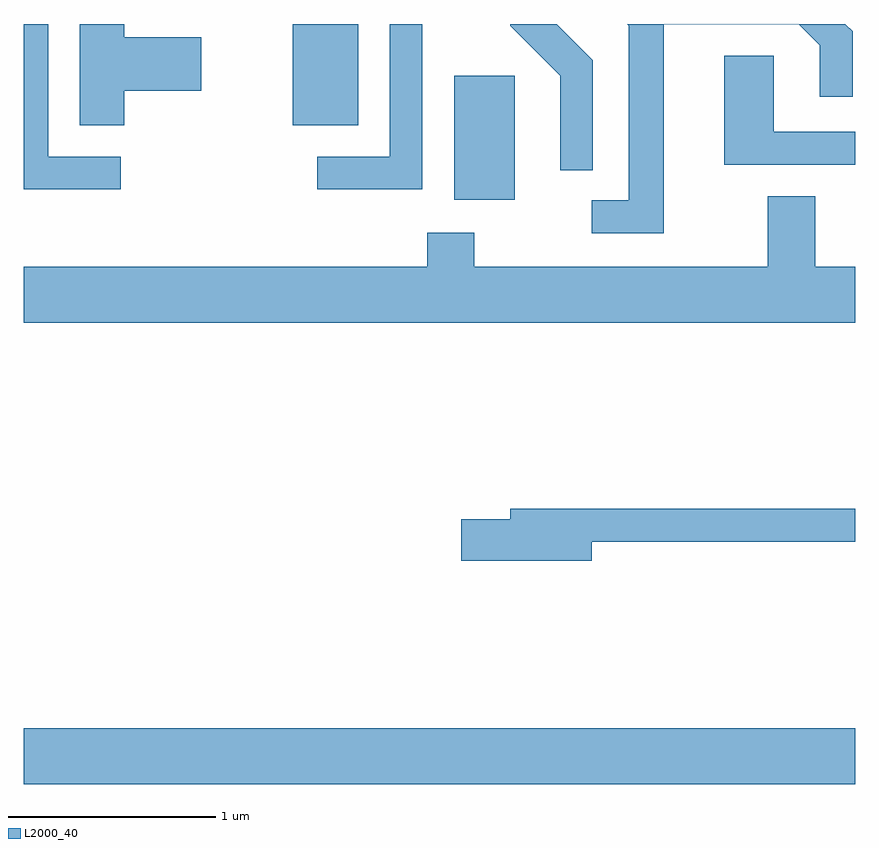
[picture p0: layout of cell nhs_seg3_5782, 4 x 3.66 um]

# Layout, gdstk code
import gdstk
lib = gdstk.Library(unit=1e-6, precision=1e-09)
def R(c, l, rs):  # rectangles x0, y0, x1, y1
    for r in rs: c.add(gdstk.rectangle(r[:2], r[2:], *l))
def P(c, l, *ps):  # polygons
    for p in ps: c.add(gdstk.Polygon(p, *l))
L2000_40 = (2000, 40)

nhs_seg3_5782 = lib.new_cell('nhs_seg3_5782')
R(nhs_seg3_5782, L2000_40, [(355.611,1128.236,359.611,1128.504), (357.681,1131.046,357.974,1131.644), (356.906,1131.406,357.219,1131.892)])
P(nhs_seg3_5782, L2000_40, [(358.689,1131.891),(359.339,1131.891),(359.441,1131.789),(359.441,1131.543),(359.599,1131.543),(359.599,1131.857),(359.564,1131.892),(358.513,1131.892),(358.521,1131.884),(358.521,1131.044),(358.343,1131.044),(358.343,1130.886),(358.689,1130.886)],
  [(356.094,1131.571),(356.464,1131.571),(356.464,1131.829),(356.094,1131.829),(356.094,1131.892),(355.881,1131.892),(355.881,1131.406),(356.094,1131.406)],
  [(356.078,1131.254),(355.729,1131.254),(355.729,1131.892),(355.611,1131.892),(355.611,1131.096),(356.078,1131.096)],
  [(357.529,1131.892),(357.371,1131.892),(357.371,1131.254),(357.023,1131.254),(357.023,1131.096),(357.529,1131.096)],
  [(358.349,1131.717),(358.174,1131.892),(357.951,1131.892),(357.951,1131.884),(358.191,1131.644),(358.191,1131.188),(358.349,1131.188)],
  [(359.611,1131.374),(359.219,1131.374),(359.219,1131.739),(358.981,1131.739),(358.981,1131.216),(359.611,1131.216)],
  [(359.611,1130.724),(359.419,1130.724),(359.419,1131.064),(359.191,1131.064),(359.191,1130.724),(357.779,1130.724),(357.779,1130.889),(357.551,1130.889),(357.551,1130.724),(355.611,1130.724),(355.611,1130.456),(359.611,1130.456)],
  [(358.344,1129.401),(359.611,1129.401),(359.611,1129.559),(357.951,1129.559),(357.951,1129.509),(357.716,1129.509),(357.716,1129.311),(358.344,1129.311)])

lib.write_gds('nhs_seg3_5782.gds')
